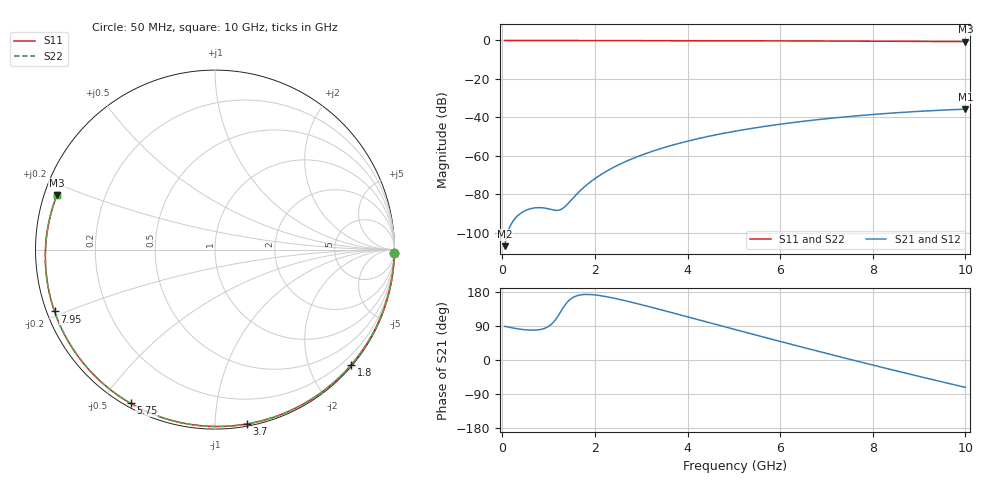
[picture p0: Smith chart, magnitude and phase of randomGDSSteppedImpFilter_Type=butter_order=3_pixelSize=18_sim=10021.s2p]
! freq	dB(S11)	phase(S11)	dB(S12)	phase(S12)
!  dB(S21)	phase(S21)	dB(S22)	phase(S22)
!S-par simulation data
#  GHz  S  DB  R 50
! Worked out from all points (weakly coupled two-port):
!   200 points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, 50 MHz to 10 GHz, reference 50 ohm
!   highest |S21| = -35.69 dB at 10 GHz (marker M1); lowest = -106.9 dB at 50 MHz (marker M2)
!   lowest |S11| = -0.6 dB at 10 GHz (marker M3), VSWR 28.20, Z = 1.82 + j8.4 ohm
!   |S11| at or under -10 dB: nowhere
!   |S22| runs from -0.6 to 0.0 dB; largest |S21 - S12| = 0
!   S11 on the Smith chart (normalised r, x): 50 MHz: open; 1.8 GHz: 0.02, -2.73; 3.7 GHz: 0.02, -1.20; 5.75 GHz: 0.02, -0.59; 7.95 GHz: 0.02, -0.19; 10 GHz: 0.04, +0.17
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0.05  -0.00 -1.1  -106.86 88.8  -106.86 88.8  -0.00 -1.1
0.45  -0.02 -10.2  -88.99 80.3  -88.99 80.3  -0.02 -10.2
0.8  -0.02 -18.1  -86.84 80.0  -86.84 80.0  -0.02 -18.1
1.2  -0.03 -27.0  -88.27 115.5  -88.27 115.5  -0.03 -27.0
1.6  -0.05 -35.8  -80.00 169.1  -80.00 169.1  -0.05 -35.8
1.75  -0.05 -39.1  -76.53 172.7  -76.53 172.7  -0.05 -39.1
1.8  -0.05 -40.2  -75.48 173.0  -75.48 173.0  -0.05 -40.2
2.1  -0.06 -46.7  -70.14 170.2  -70.14 170.2  -0.06 -46.7
2.45  -0.07 -54.1  -65.34 162.1  -65.34 162.1  -0.07 -54.1
2.9  -0.08 -63.5  -60.53 149.1  -60.53 149.1  -0.08 -63.5
3.4  -0.10 -73.8  -56.33 133.4  -56.33 133.4  -0.10 -73.7
3.7  -0.11 -79.8  -54.21 123.7  -54.21 123.7  -0.11 -79.8
4.35  -0.13 -92.5  -50.36 102.5  -50.36 102.5  -0.13 -92.5
5.05  -0.16 -105.8  -47.04 79.6  -47.04 79.6  -0.16 -105.8
5.75  -0.20 -118.8  -44.35 57.0  -44.35 57.0  -0.20 -118.8
6.7  -0.26 -136.1  -41.43 26.8  -41.43 26.8  -0.26 -136.1
7.35  -0.32 -147.9  -39.82 6.6  -39.82 6.6  -0.32 -147.9
7.95  -0.37 -158.9  -38.56 -11.8  -38.56 -11.8  -0.37 -158.9
8.35  -0.41 -166.4  -37.83 -23.9  -37.83 -23.9  -0.41 -166.4
9.2  -0.51 177.2  -36.56 -49.1  -36.56 -49.1  -0.51 177.2
9.6  -0.56 169.2  -36.08 -60.8  -36.08 -60.8  -0.56 169.2
10  -0.62 160.9  -35.69 -72.2  -35.69 -72.2  -0.62 160.9
